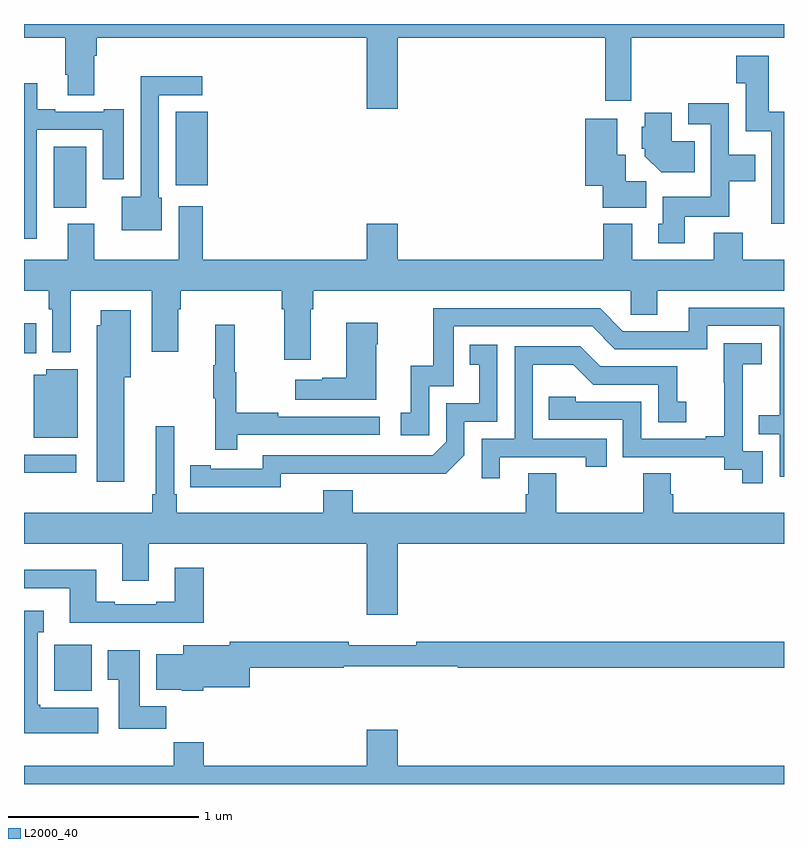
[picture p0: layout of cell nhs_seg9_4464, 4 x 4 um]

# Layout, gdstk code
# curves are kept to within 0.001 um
import gdstk
lib = gdstk.Library(unit=1e-6, precision=1e-09)
def R(c, l, rs):  # rectangles x0, y0, x1, y1
    for r in rs: c.add(gdstk.rectangle(r[:2], r[2:], *l))
def P(c, l, *ps):  # polygons
    for p in ps: c.add(gdstk.Polygon(p, *l))
L2000_40 = (2000, 40)

nhs_seg9_4464 = lib.new_cell('nhs_seg9_4464')
R(nhs_seg9_4464, L2000_40, [(367.16,1184.99,367.357,1185.232), (367,1186.137,367.276,1186.233), (367,1186.766,367.064,1186.924), (367.157,1187.534,367.327,1187.854), (367.799,1187.651,367.966,1188.037)])
P(nhs_seg9_4464, L2000_40, [(368.968,1188.428),(370.06,1188.428),(370.06,1188.096),(370.196,1188.096),(370.196,1188.428),(371,1188.428),(371,1188.5),(367,1188.5),(367,1188.428),(367.217,1188.428),(367.217,1188.232),(367.229,1188.232),(367.229,1188.124),(367.369,1188.124),(367.369,1188.332),(367.382,1188.332),(367.382,1188.428),(368.804,1188.428),(368.804,1188.054),(368.968,1188.054)],
  [(371,1188.039),(370.921,1188.039),(370.921,1188.334),(370.748,1188.334),(370.748,1188.187),(370.799,1188.187),(370.799,1187.936),(370.934,1187.936),(370.934,1187.448),(371,1187.448)],
  [(367.726,1187.586),(367.71,1187.586),(367.71,1188.126),(367.939,1188.126),(367.939,1188.224),(367.614,1188.224),(367.614,1187.59),(367.514,1187.59),(367.514,1187.414),(367.726,1187.414)],
  [(367.068,1187.943),(367.415,1187.943),(367.415,1187.682),(367.525,1187.682),(367.525,1188.052),(367.421,1188.052),(367.421,1188.039),(367.165,1188.039),(367.165,1188.052),(367.069,1188.052),(367.069,1188.187),(367,1188.187),(367,1187.37),(367.068,1187.37)],
  [(370.477,1187.486),(370.713,1187.486),(370.713,1187.672),(370.849,1187.672),(370.849,1187.812),(370.71,1187.812),(370.71,1188.082),(370.497,1188.082),(370.497,1187.973),(370.614,1187.973),(370.614,1187.59),(370.361,1187.59),(370.361,1187.448),(370.337,1187.448),(370.337,1187.346),(370.477,1187.346)],
  [(370.529,1187.884),(370.408,1187.884),(370.408,1188.034),(370.268,1188.034),(370.268,1187.958),(370.25,1187.958),(370.25,1187.844),(370.268,1187.844),(370.268,1187.805),(370.353,1187.72),(370.529,1187.72)],
  [(370.276,1187.672),(370.168,1187.672),(370.168,1187.812),(370.123,1187.812),(370.123,1188.001),(369.953,1188.001),(369.953,1187.648),(370.046,1187.648),(370.046,1187.534),(370.276,1187.534)],
  [(368.509,1187),(368.522,1187),(368.522,1187.096),(370.194,1187.096),(370.194,1186.969),(370.333,1186.969),(370.333,1187.096),(371,1187.096),(371,1187.26),(370.784,1187.26),(370.784,1187.401),(370.631,1187.401),(370.631,1187.26),(370.201,1187.26),(370.201,1187.449),(370.049,1187.449),(370.049,1187.26),(368.968,1187.26),(368.968,1187.449),(368.804,1187.449),(368.804,1187.26),(367.94,1187.26),(367.94,1187.542),(367.814,1187.542),(367.814,1187.26),(367.369,1187.26),(367.369,1187.449),(367.229,1187.449),(367.229,1187.26),(367,1187.26),(367,1187.096),(367.129,1187.096),(367.129,1187),(367.149,1187),(367.149,1186.773),(367.246,1186.773),(367.246,1187.096),(367.673,1187.096),(367.673,1186.776),(367.813,1186.776),(367.813,1187),(367.826,1187),(367.826,1187.096),(368.357,1187.096),(368.357,1187),(368.369,1187),(368.369,1186.734),(368.509,1186.734)],
  [(371,1187.007),(370.499,1187.007),(370.499,1186.884),(370.152,1186.884),(370.032,1187.004),(369.153,1187.004),(369.153,1186.702),(369.035,1186.702),(369.035,1186.455),(368.982,1186.455),(368.982,1186.335),(369.132,1186.335),(369.132,1186.593),(369.261,1186.593),(369.261,1186.908),(369.99,1186.908),(370.11,1186.788),(370.596,1186.788),(370.596,1186.911),(370.977,1186.911),(370.977,1186.442),(370.867,1186.442),(370.867,1186.341),(370.977,1186.341),(370.977,1186.116),(371,1186.116)],
  [(367.528,1186.64),(367.561,1186.64),(367.561,1186.993),(367.403,1186.993),(367.403,1186.914),(367.382,1186.914),(367.382,1186.092),(367.528,1186.092)],
  [(368.854,1186.814),(368.862,1186.814),(368.862,1186.927),(368.696,1186.927),(368.696,1186.637),(368.57,1186.637),(368.57,1186.627),(368.427,1186.627),(368.427,1186.523),(368.854,1186.523)],
  [(368.123,1186.338),(368.872,1186.338),(368.872,1186.434),(368.339,1186.434),(368.339,1186.454),(368.116,1186.454),(368.116,1186.668),(368.108,1186.668),(368.108,1186.918),(368.006,1186.918),(368.006,1186.705),(367.995,1186.705),(367.995,1186.531),(368.006,1186.531),(368.006,1186.26),(368.123,1186.26)],
  [(370.887,1186.251),(370.782,1186.251),(370.782,1186.481),(370.784,1186.481),(370.784,1186.709),(370.882,1186.709),(370.882,1186.819),(370.684,1186.819),(370.684,1186.613),(370.685,1186.613),(370.685,1186.33),(370.589,1186.33),(370.589,1186.317),(370.248,1186.317),(370.248,1186.512),(369.903,1186.512),(369.903,1186.539),(369.763,1186.539),(369.763,1186.416),(370.152,1186.416),(370.152,1186.221),(370.686,1186.221),(370.686,1186.153),(370.779,1186.153),(370.779,1186.083),(370.887,1186.083)],
  [(368.352,1186.134),(369.22,1186.133),(369.318,1186.23),(369.318,1186.407),(369.492,1186.407),(369.492,1186.813),(369.346,1186.813),(369.346,1186.707),(369.395,1186.707),(369.395,1186.503),(369.222,1186.503),(369.222,1186.302),(369.15,1186.23),(368.256,1186.23),(368.256,1186.158),(367.984,1186.158),(367.984,1186.178),(367.876,1186.178),(367.876,1186.062),(368.352,1186.061)],
  [(369.505,1186.221),(369.956,1186.221),(369.956,1186.17),(370.067,1186.17),(370.067,1186.317),(369.678,1186.317),(369.678,1186.706),(369.892,1186.706),(369.996,1186.602),(370.338,1186.602),(370.338,1186.404),(370.486,1186.404),(370.486,1186.513),(370.437,1186.513),(370.437,1186.698),(370.033,1186.698),(369.928,1186.803),(369.582,1186.803),(369.582,1186.317),(369.408,1186.317),(369.408,1186.11),(369.505,1186.11)],
  [(367.282,1186.684),(367.118,1186.684),(367.118,1186.654),(367.052,1186.654),(367.052,1186.322),(367.282,1186.322)],
  [(368.968,1185.764),(371,1185.764),(371,1185.928),(370.418,1185.928),(370.418,1186.026),(370.405,1186.026),(370.405,1186.136),(370.258,1186.136),(370.258,1185.928),(369.801,1185.928),(369.801,1186.136),(369.653,1186.136),(369.653,1186.026),(369.641,1186.026),(369.641,1185.928),(368.729,1185.928),(368.729,1186.045),(368.576,1186.045),(368.576,1185.928),(367.805,1185.928),(367.805,1186.024),(367.791,1186.024),(367.791,1186.384),(367.694,1186.384),(367.694,1186.024),(367.675,1186.024),(367.675,1185.928),(367,1185.928),(367,1185.764),(367.517,1185.764),(367.517,1185.57),(367.657,1185.57),(367.657,1185.764),(368.804,1185.764),(368.804,1185.39),(368.968,1185.39)],
  [(367.946,1185.637),(367.793,1185.637),(367.793,1185.46),(367.697,1185.46),(367.697,1185.447),(367.477,1185.447),(367.477,1185.46),(367.381,1185.46),(367.381,1185.628),(367,1185.628),(367,1185.531),(367.241,1185.531),(367.241,1185.35),(367.946,1185.35)],
  [(367.39,1184.902),(367.086,1184.902),(367.086,1184.916),(367.072,1184.916),(367.072,1185.299),(367.105,1185.299),(367.105,1185.412),(367,1185.412),(367,1184.768),(367.39,1184.768)],
  [(367.944,1185.008),(368.188,1185.008),(368.188,1185.112),(368.684,1185.112),(368.684,1185.12),(369.284,1185.12),(369.284,1185.112),(371,1185.112),(371,1185.248),(369.064,1185.248),(369.064,1185.229),(368.708,1185.229),(368.708,1185.248),(368.084,1185.248),(368.084,1185.229),(367.838,1185.229),(367.838,1185.184),(367.697,1185.184),(367.697,1184.996),(367.83,1184.996),(367.83,1184.99),(367.944,1184.99)],
  [(367.748,1184.908),(367.609,1184.908),(367.609,1185.205),(367.442,1185.205),(367.442,1185.049),(367.499,1185.049),(367.499,1184.79),(367.748,1184.79)],
  [(371,1184.596),(368.968,1184.596),(368.968,1184.785),(368.804,1184.785),(368.804,1184.596),(367.946,1184.596),(367.946,1184.72),(367.789,1184.72),(367.789,1184.596),(367,1184.596),(367,1184.5),(371,1184.5)])

lib.write_gds('nhs_seg9_4464.gds')
